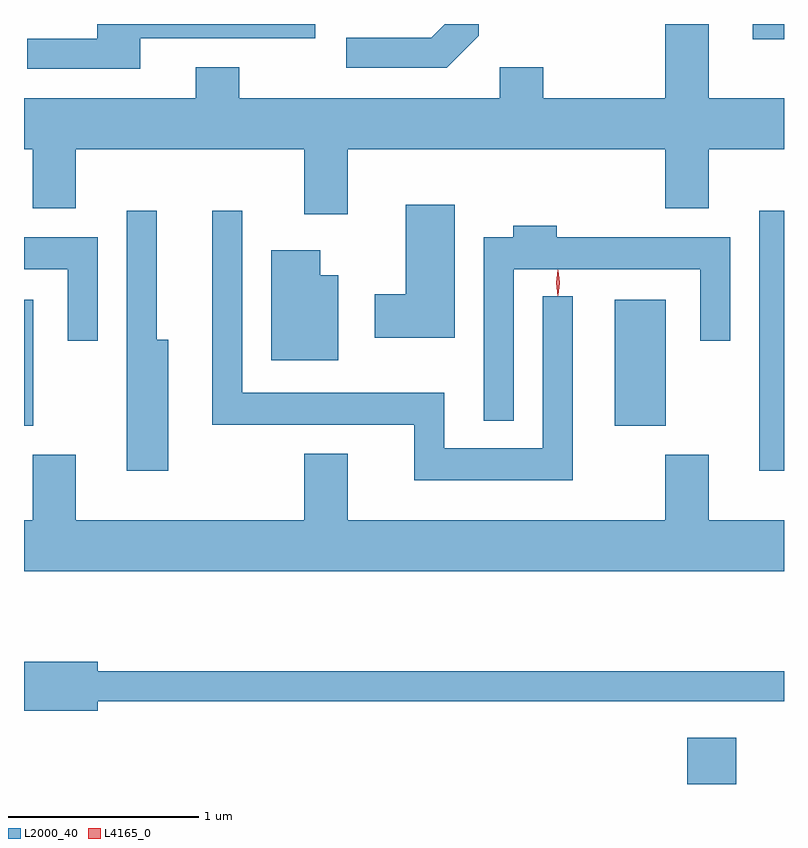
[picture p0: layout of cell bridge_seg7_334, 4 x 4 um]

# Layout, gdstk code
import gdstk
lib = gdstk.Library(unit=1e-6, precision=1e-09)
def R(c, l, rs):  # rectangles x0, y0, x1, y1
    for r in rs: c.add(gdstk.rectangle(r[:2], r[2:], *l))
def P(c, l, *ps):  # polygons
    for p in ps: c.add(gdstk.Polygon(p, *l))
L2000_40 = (2000, 40)
L4165_0 = (4165, 0)

bridge_seg7_334 = lib.new_cell('bridge_seg7_334')
R(bridge_seg7_334, L2000_40, [(1204.276,1766.476,1204.534,1766.719), (1204.656,1768.126,1204.786,1769.493), (1200.786,1768.361,1200.834,1769.024), (1203.896,1768.361,1204.164,1769.024), (1204.621,1770.396,1204.786,1770.476)])
P(bridge_seg7_334, L2000_40, [(1202.489,1769.816),(1204.161,1769.816),(1204.161,1769.506),(1204.389,1769.506),(1204.389,1769.816),(1204.786,1769.816),(1204.786,1770.084),(1204.389,1770.084),(1204.389,1770.476),(1204.161,1770.476),(1204.161,1770.084),(1203.519,1770.084),(1203.519,1770.249),(1203.291,1770.249),(1203.291,1770.084),(1201.919,1770.084),(1201.919,1770.249),(1201.691,1770.249),(1201.691,1770.084),(1200.786,1770.084),(1200.786,1769.816),(1200.831,1769.816),(1200.831,1769.506),(1201.059,1769.506),(1201.059,1769.816),(1202.261,1769.816),(1202.261,1769.476),(1202.489,1769.476)],
  [(1201.399,1770.401),(1202.319,1770.401),(1202.319,1770.476),(1201.171,1770.476),(1201.171,1770.399),(1200.803,1770.399),(1200.803,1770.241),(1201.399,1770.241)],
  [(1203.179,1770.414),(1203.179,1770.476),(1203,1770.476),(1202.929,1770.404),(1202.483,1770.404),(1202.483,1770.246),(1203.012,1770.246)],
  [(1203.054,1769.524),(1202.796,1769.524),(1202.796,1769.054),(1202.631,1769.054),(1202.631,1768.826),(1203.054,1768.826)],
  [(1203.674,1769.043),(1203.516,1769.043),(1203.516,1768.244),(1202.999,1768.244),(1202.999,1768.534),(1201.934,1768.534),(1201.934,1769.493),(1201.776,1769.493),(1201.776,1768.366),(1202.841,1768.366),(1202.841,1768.076),(1203.674,1768.076)],
  [(1201.544,1768.814),(1201.484,1768.814),(1201.484,1769.493),(1201.326,1769.493),(1201.326,1768.126),(1201.544,1768.126)],
  [(1203.364,1769.186),(1204.346,1769.186),(1204.346,1768.808),(1204.504,1768.808),(1204.504,1769.354),(1203.589,1769.354),(1203.589,1769.414),(1203.361,1769.414),(1203.361,1769.354),(1203.206,1769.354),(1203.206,1768.388),(1203.364,1768.388)],
  [(1201.174,1769.354),(1200.786,1769.354),(1200.786,1769.186),(1201.016,1769.186),(1201.016,1768.808),(1201.174,1768.808)],
  [(1202.439,1769.154),(1202.344,1769.154),(1202.344,1769.284),(1202.086,1769.284),(1202.086,1768.706),(1202.439,1768.706)],
  [(1204.786,1767.864),(1204.389,1767.864),(1204.389,1768.209),(1204.161,1768.209),(1204.161,1767.864),(1202.489,1767.864),(1202.489,1768.214),(1202.261,1768.214),(1202.261,1767.864),(1201.059,1767.864),(1201.059,1768.209),(1200.831,1768.209),(1200.831,1767.864),(1200.786,1767.864),(1200.786,1767.596),(1204.786,1767.596)],
  [(1201.174,1766.911),(1204.786,1766.911),(1204.786,1767.069),(1201.174,1767.069),(1201.174,1767.119),(1200.786,1767.119),(1200.786,1766.861),(1201.174,1766.861)])
P(bridge_seg7_334, L4165_0, [(1203.595,1769.044),(1203.595,1769.044),(1203.586,1769.113),(1203.596,1769.182),(1203.596,1769.183),(1203.596,1769.182),(1203.606,1769.113),(1203.596,1769.044)],
  [(1203.596,1769.047),(1203.596,1769.048),(1203.586,1769.114),(1203.596,1769.18),(1203.596,1769.181),(1203.597,1769.18),(1203.606,1769.114),(1203.597,1769.048)])

lib.write_gds('bridge_seg7_334.gds')
